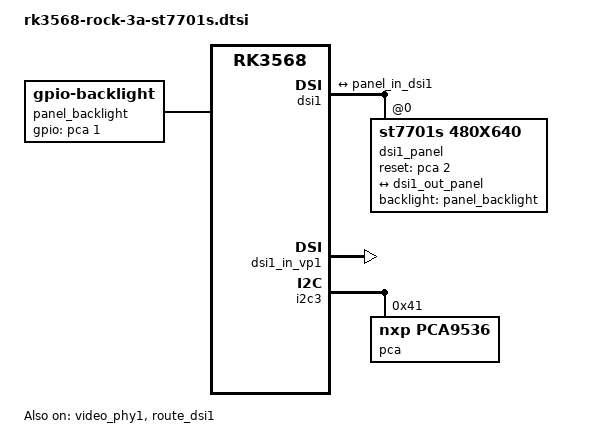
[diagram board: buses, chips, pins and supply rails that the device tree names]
// SPDX-License-Identifier: (GPL-2.0+ OR MIT)
/*
 * Copyright (c) 2023 unlasting Limited.
 *
 */

/ {
	compatible = "radxa,rock-3a", "rockchip,rk3568";

	panel_backlight: panel_backlight {
		compatible = "gpio-backlight";
		gpios = <&pca 1 0>;
		default-on;
		status = "okay";
	};
};

&video_phy1 {
	status = "okay";
};

&dsi1 {
	status = "okay";

	dsi1_panel: dsi-panel@0 {
		reg = <0x0>;
		status = "okay";
		compatible = "st7701s,480x640";
		reset-gpios = <&pca 2 0>; // fix me, no use
		backlight = <&panel_backlight>;

		ports {
			#address-cells = <1>;
			#size-cells = <0>;

			port@0 {
				reg = <0>;

				panel_in_dsi1: endpoint {
					remote-endpoint = <&dsi1_out_panel>;
				};
			};
		};
	};

	ports {
		#address-cells = <1>;
		#size-cells = <0>;

		port@1 {
			reg = <1>;
			#address-cells = <1>;
			#size-cells = <0>;

			dsi1_out_panel: endpoint@0 {
				reg = <0>;
				remote-endpoint = <&panel_in_dsi1>;
			};
		};
	};
};

&dsi1_in_vp0 {
	status = "disabled";
};

&dsi1_in_vp1 {
	status = "okay";
};

&route_dsi1 {
	status = "okay";
	connect = <&vp1_out_dsi1>;
};

&i2c3 {
	status = "okay";
	pinctrl-0 = <&i2c3m1_xfer>;

	pca: pca@41 {
		compatible = "nxp,pca9536";
		reg = <0x41>;
		gpio-controller;
		#gpio-cells = <2>;
		status = "okay";
		gpio-line-names =
			"0_Unused",
			"1_LCD_BL",
			"2_Unused",
			"3_LCD_RST";
	};
};
